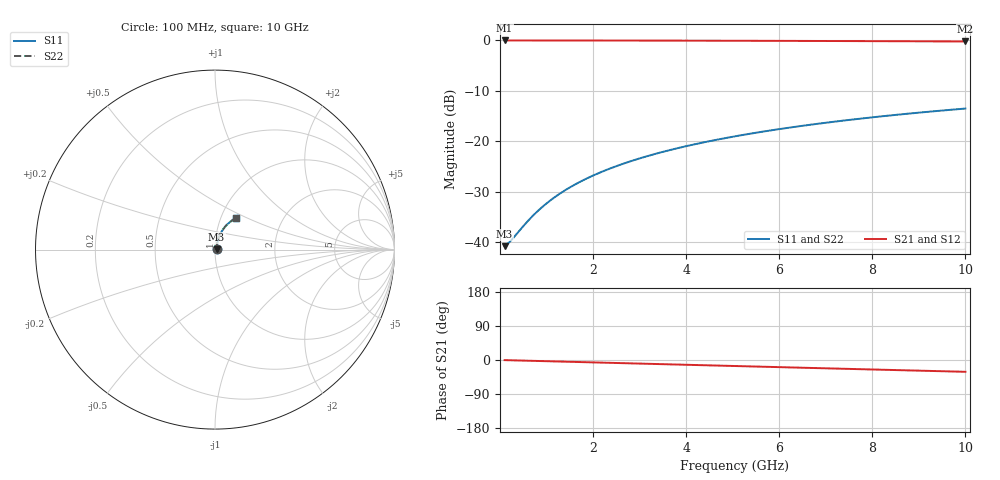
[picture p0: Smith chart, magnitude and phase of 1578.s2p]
# Hz S RI R 50.00
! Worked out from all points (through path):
!   100 points, 100 MHz to 10 GHz, reference 50 ohm
!   highest |S21| = -0.08 dB at 100 MHz (marker M1); lowest = -0.3 dB at 10 GHz (marker M2)
!   group delay of S21, straight-line fit = 8.66 ps
!   lowest |S11| = -40.8 dB at 100 MHz (marker M3), VSWR 1.02, Z = 50.9 + j0.223 ohm
!   |S11| at or under -10 dB: start of sweep to end of sweep
!   |S22| runs from -40.8 to -13.6 dB; largest |S21 - S12| = 0
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1e8  0.00883 0.00219  0.9912 -0.00546  0.9912 -0.00546  0.00883 0.00219
2e8  0.00892 0.00437  0.991 -0.0109  0.991 -0.0109  0.00892 0.00437
3e8  0.00902 0.00656  0.9909 -0.0164  0.9909 -0.0164  0.00902 0.00656
5e8  0.00928 0.0109  0.9906 -0.0273  0.9906 -0.0273  0.00928 0.0109
7e8  0.00962 0.0153  0.9901 -0.0382  0.9901 -0.0382  0.00962 0.0153
8e8  0.00982 0.0175  0.9898 -0.0436  0.9898 -0.0436  0.00982 0.0175
1e9  0.0103 0.0218  0.9891 -0.0545  0.9891 -0.0545  0.0103 0.0218
1.2e9  0.0108 0.0261  0.9883 -0.0654  0.9883 -0.0654  0.0108 0.0261
1.4e9  0.0115 0.0305  0.9874 -0.0763  0.9874 -0.0763  0.0115 0.0305
1.6e9  0.0122 0.0348  0.9863 -0.0871  0.9863 -0.0871  0.0122 0.0348
1.8e9  0.0131 0.039  0.9851 -0.0979  0.9851 -0.0979  0.0131 0.039
2.1e9  0.0145 0.0454  0.983 -0.1141  0.983 -0.1141  0.0145 0.0454
2.5e9  0.0168 0.0538  0.9798 -0.1356  0.9798 -0.1356  0.0168 0.0538
2.9e9  0.0193 0.0622  0.976 -0.157  0.976 -0.157  0.0193 0.0622
3.4e9  0.0231 0.0724  0.9706 -0.1836  0.9706 -0.1836  0.0231 0.0724
4.2e9  0.0302 0.0882  0.9601 -0.2256  0.9601 -0.2256  0.0302 0.0882
5.1e9  0.0398 0.1051  0.946 -0.2719  0.946 -0.2719  0.0398 0.1051
5.9e9  0.0497 0.1192  0.9313 -0.3121  0.9313 -0.3121  0.0497 0.1192
6.7e9  0.0607 0.1324  0.9147 -0.3514  0.9147 -0.3514  0.0607 0.1324
7.5e9  0.0728 0.1445  0.8964 -0.3895  0.8964 -0.3895  0.0728 0.1445
8.4e9  0.0875 0.1568  0.8738 -0.431  0.8738 -0.431  0.0875 0.1568
1e10  0.116 0.1747  0.8288 -0.5008  0.8288 -0.5008  0.116 0.1747
